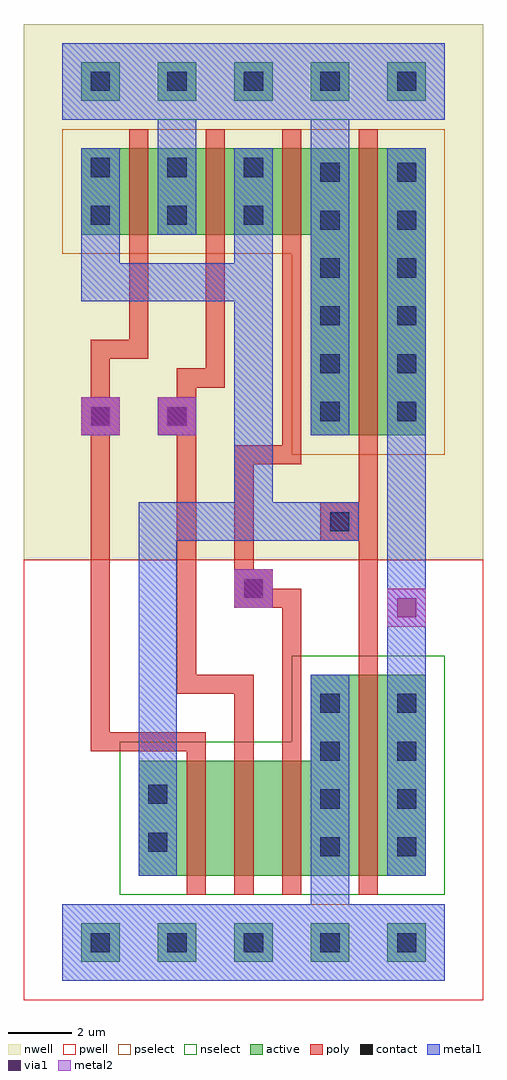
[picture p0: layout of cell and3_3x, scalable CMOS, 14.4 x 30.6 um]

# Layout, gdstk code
import gdstk
lib = gdstk.Library(unit=1e-6, precision=1e-09)
def R(c, l, rs):  # rectangles x0, y0, x1, y1
    for r in rs: c.add(gdstk.rectangle(r[:2], r[2:], *l))
def A(c, l, x, y, w, h, nx, ny, dx, dy):  # array of equal rectangles
    R(c, l, [(x+i*dx, y+j*dy, x+i*dx+w, y+j*dy+h) for i in range(nx) for j in range(ny)])
contact = (25, 0)
pwell = (41, 0)
nwell = (42, 0)
active = (43, 0)
pselect = (44, 0)
nselect = (45, 0)
poly = (46, 0)
metal1 = (49, 0)
via1 = (50, 0)
metal2 = (51, 0)

and3_3x = lib.new_cell('and3_3x')
A(and3_3x, contact, 0.3, -0.3, 0.6, 0.6, 5, 2, 2.4, 27)
A(and3_3x, contact, 7.5, 2.7, 0.6, 0.6, 1, 4, 0, 1.5)
A(and3_3x, contact, 9.9, 2.7, 0.6, 0.6, 1, 4, 0, 1.5)
A(and3_3x, contact, 7.5, 16.35, 0.6, 0.6, 1, 6, 0, 1.5)
A(and3_3x, contact, 9.9, 16.35, 0.6, 0.6, 1, 6, 0, 1.5)
A(and3_3x, contact, 0.3, 22.5, 0.6, 0.6, 3, 2, 2.4, 1.5)
R(and3_3x, contact, [(2.1,2.85,2.7,3.45), (2.1,4.35,2.7,4.95), (5.1,10.8,5.7,11.4), (5.1,10.8,5.7,11.4), (7.8,12.9,8.4,13.5), (0.3,16.2,0.9,16.8), (2.7,16.2,3.3,16.8)])
A(and3_3x, pwell, -0.9, -1.5, 3, 3, 5, 1, 2.4, 0)
A(and3_3x, pwell, 0.6, 0.3, 6, 7.2, 3, 1, 1.5, 0)
R(and3_3x, pwell, [(-1.8,-1.8,12.6,12), (0,0.3,4.8,7.5), (5.4,0.3,10.2,10.2), (6,0.3,12,10.2), (7.8,0.3,12.6,10.2), (0.15,0.75,4.725,5.25), (3.225,0.75,8.475,5.25), (1.725,1.05,6.975,5.55), (5.475,1.2,10.05,5.7), (5.4,1.95,10.125,6.45), (7.875,1.95,12.45,6.45)])
A(and3_3x, nwell, -1.8, 20.4, 4.8, 6.3, 3, 1, 2.4, 0)
A(and3_3x, nwell, -1.2, 20.4, 6, 6.3, 3, 1, 2.4, 0)
A(and3_3x, nwell, -0.9, 25.5, 3, 3, 5, 1, 2.4, 0)
R(and3_3x, nwell, [(-1.8,12,12.6,28.8), (5.4,14.1,10.2,26.7), (6,14.1,12,26.7), (7.8,14.1,12.6,26.7), (5.55,21.15,10.125,25.65), (7.875,21.15,12.45,25.65), (0.675,21.3,5.25,25.8), (3.15,21.45,7.725,25.95), (5.475,21.45,10.05,25.95), (-1.65,21.75,2.925,26.25), (0.75,21.75,5.325,26.25), (3.075,21.75,7.65,26.25)])
A(and3_3x, active, 0, -0.6, 1.2, 1.2, 5, 2, 2.4, 27)
A(and3_3x, active, 2.4, 2.1, 2.4, 3.6, 3, 1, 1.5, 0)
A(and3_3x, active, 0, 22.2, 1.2, 2.7, 3, 1, 2.4, 0)
A(and3_3x, active, 0.6, 22.2, 2.4, 2.7, 3, 1, 2.4, 0)
R(and3_3x, active, [(1.8,2.1,3,5.7), (7.2,2.1,8.4,8.4), (7.8,2.1,10.2,8.4), (9.6,2.1,10.8,8.4), (1.95,2.55,2.925,3.45), (5.025,2.55,6.675,3.45), (3.525,2.85,5.175,3.75), (7.275,3,8.25,3.9), (7.2,3.75,8.325,4.65), (9.675,3.75,10.65,4.65), (7.2,15.9,8.4,24.9), (7.8,15.9,10.2,24.9), (9.6,15.9,10.8,24.9), (7.35,22.95,8.325,23.85), (9.675,22.95,10.65,23.85), (2.475,23.1,3.45,24), (4.95,23.25,5.925,24.15), (7.275,23.25,8.25,24.15), (0.15,23.55,1.125,24.45), (2.55,23.55,3.525,24.45), (4.875,23.55,5.85,24.45)])
A(and3_3x, pselect, -0.6, -1.2, 2.4, 2.4, 5, 1, 2.4, 0)
A(and3_3x, pselect, -0.6, 21.6, 2.4, 3.9, 3, 1, 2.4, 0)
A(and3_3x, pselect, 0, 21.6, 3.6, 3.9, 3, 1, 2.4, 0)
R(and3_3x, pselect, [(6.6,15.3,9,25.5), (7.2,15.3,10.8,25.5), (9,15.3,11.4,25.5), (6.75,22.35,8.925,24.45), (9.075,22.35,11.25,24.45), (1.875,22.5,4.05,24.6), (4.35,22.65,6.525,24.75), (6.675,22.65,8.85,24.75), (-0.45,22.95,1.725,25.05), (1.95,22.95,4.125,25.05), (4.275,22.95,6.45,25.05)])
A(and3_3x, nselect, 1.8, 1.5, 3.6, 4.8, 3, 1, 1.5, 0)
A(and3_3x, nselect, -0.6, 25.8, 2.4, 2.4, 5, 1, 2.4, 0)
R(and3_3x, nselect, [(1.2,1.5,3.6,6.3), (6.6,1.5,9,9), (7.2,1.5,10.8,9), (9,1.5,11.4,9), (1.35,1.95,3.525,4.05), (4.425,1.95,7.275,4.05), (2.925,2.25,5.775,4.35), (6.675,2.4,8.85,4.5), (6.6,3.15,8.925,5.25), (9.075,3.15,11.25,5.25)])
A(and3_3x, poly, 3.3, 1.5, 0.6, 4.8, 3, 1, 1.5, 0)
A(and3_3x, poly, 1.5, 21.6, 0.6, 3.9, 3, 1, 2.4, 0)
R(and3_3x, poly, [(8.7,1.5,9.3,9), (0.3,6,0.9,16.8), (0.3,6,3.9,6.6), (4.8,6,5.4,8.4), (6.3,6,6.9,11.1), (3,7.8,3.6,16.8), (3,7.8,5.4,8.4), (8.7,8.7,9.3,13.5), (4.8,10.5,6,11.7), (4.8,10.5,6,11.7), (5.1,10.5,5.7,11.4), (5.1,10.5,6.9,11.1), (4.8,10.8,5.7,11.4), (4.8,10.8,5.4,15.6), (5.1,10.8,5.7,11.4), (7.5,12.6,8.7,13.8), (7.8,12.9,9.3,13.5), (8.7,12.9,9.3,15.6), (8.7,12.9,9.3,13.5), (4.8,15,6.9,15.6), (6.3,15,6.9,21.9), (8.7,15,9.3,15.6), (8.7,15.3,9.3,25.5), (0,15.9,1.2,17.1), (2.4,15.9,3.6,17.1), (0.3,16.2,0.9,18.9), (0.3,16.2,0.9,16.8), (2.7,16.2,3.6,16.8), (3,16.2,3.6,18), (3,17.4,4.5,18), (3.9,17.4,4.5,21.9), (0.3,18.3,2.1,18.9), (1.5,18.3,2.1,21.9), (3.9,21.3,4.5,22.5)])
A(and3_3x, metal1, -0.6, -1.2, 4.8, 2.4, 4, 1, 2.4, 0)
A(and3_3x, metal1, 0, -0.6, 1.2, 1.2, 4, 2, 2.4, 27)
A(and3_3x, metal1, 0, 22.2, 1.2, 2.7, 3, 1, 2.4, 0)
R(and3_3x, metal1, [(-0.6,-1.2,1.8,1.2), (-0.6,-1.2,4.2,1.2), (7.2,-0.6,8.4,0.6), (7.2,-0.6,8.4,3.3), (9.6,-0.6,10.8,0.6), (1.8,2.1,3,5.7), (7.2,2.1,8.4,8.4), (9.6,2.1,10.8,8.4), (1.8,4.5,3,13.8), (9.6,7.2,10.8,11.1), (9.6,9.9,10.8,11.1), (9.6,9.9,10.8,11.1), (9.6,9.9,10.8,13.2), (4.8,10.5,6,11.7), (4.8,10.5,6,11.7), (4.8,10.5,6,11.7), (4.95,10.65,5.85,11.55), (9.6,12,10.8,13.2), (9.6,12,10.8,21.15), (1.8,12.6,6,13.8), (4.8,12.6,8.7,13.8), (4.8,12.6,6,21.3), (7.5,12.6,8.7,13.8), (0,15.9,1.2,17.1), (0,15.9,1.2,17.1), (2.4,15.9,3.6,17.1), (2.4,15.9,3.6,17.1), (7.2,15.9,8.4,24.9), (9.6,15.9,10.8,24.9), (0.15,16.05,1.05,16.95), (2.55,16.05,3.45,16.95), (9.6,19.95,10.8,21.15), (9.6,19.95,10.8,23.1), (0,20.1,1.2,24.3), (0,20.1,6,21.3), (4.8,20.1,6,24.3), (2.4,23.7,3.6,27.6), (7.2,23.7,8.4,27.6), (-0.6,25.8,1.8,28.2), (-0.6,25.8,4.2,28.2), (1.8,25.8,9,28.2), (6.6,25.8,11.4,28.2), (0,26.4,1.2,27.6), (4.8,26.4,8.4,27.6), (7.2,26.4,8.4,27.6), (9.6,26.4,10.8,27.6), (9.6,26.4,10.8,27.6)])
R(and3_3x, via1, [(9.9,10.2,10.5,10.8), (5.1,10.8,5.7,11.4), (0.3,16.2,0.9,16.8), (2.7,16.2,3.3,16.8)])
R(and3_3x, metal2, [(9.6,9.9,10.8,11.1), (4.8,10.5,6,11.7), (0,15.9,1.2,17.1), (2.4,15.9,3.6,17.1)])

lib.write_gds('and3_3x.gds')
